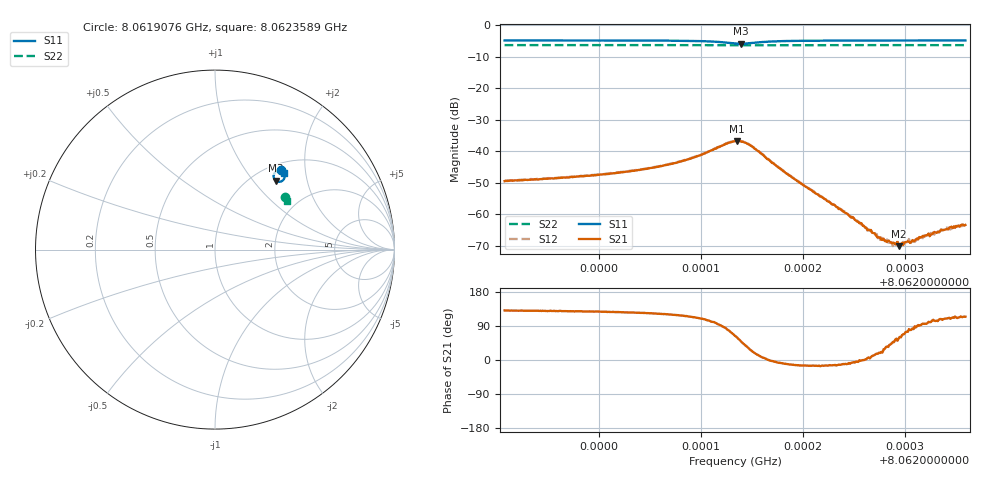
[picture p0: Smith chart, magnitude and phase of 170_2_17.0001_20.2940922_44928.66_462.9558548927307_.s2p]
#  HZ  S  RI  R  50.00
! Rohde & Schwarz Vector Network Analyzer
! Rohde-Schwarz,ZNB20-2Port,1311601062101988,3.16
! Created: UTC 3/20/2024, 10:59:43 PM
! freq[Hz]  re:S11  im:S11  re:S21  im:S21  re:S12  im:S12  re:S22  im:S22
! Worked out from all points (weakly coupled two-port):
!   401 points, 8.0619076 GHz to 8.0623589 GHz, reference 50 ohm
!   highest |S21| = -36.72 dB at 8.0621355 GHz (marker M1); lowest = -70.2 dB at 8.0622935 GHz (marker M2)
!   lowest |S11| = -5.8 dB at 8.0621389 GHz (marker M3), VSWR 3.10, Z = 62.8 + j65.5 ohm
!   |S11| at or under -10 dB: nowhere
!   |S22| runs from -6.3 to -6.3 dB; largest |S21 - S12| = 0.0011
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8.06190764e9  0.3703 0.4408  -0.00219 0.00253  -0.00205 0.00274  0.3875 0.2933
8.06198322e9  0.3764 0.435  -0.0025 0.00313  -0.00233 0.00332  0.3901 0.2896
8.06203061e9  0.3811 0.4295  -0.0028 0.0039  -0.00259 0.00416  0.3917 0.2871
8.06205881e9  0.3843 0.4243  -0.00302 0.00483  -0.00278 0.00506  0.3927 0.2854
8.06209153e9  0.388 0.4123  -0.0031 0.00719  -0.00269 0.00745  0.3937 0.2833
8.06211635e9  0.3824 0.3907  -0.00095 0.0116  -0.000279 0.0116  0.3939 0.2814
8.06213327e9  0.3517 0.3781  0.00637 0.0129  0.00728 0.0127  0.3929 0.2805
8.06213553e9  0.3457 0.3799  0.00753 0.0125  0.00835 0.0119  0.3928 0.2806
8.06213891e9  0.3373 0.385  0.00928 0.011  0.0101 0.0104  0.3925 0.2809
8.06214907e9  0.3265 0.4093  0.011 0.00523  0.0114 0.00454  0.3929 0.2816
8.06218291e9  0.3537 0.4392  0.00445 -0.000801  0.00447 -0.00109  0.3955 0.2809
8.06220886e9  0.3651 0.4387  0.00228 -0.000608  0.00224 -0.000764  0.3967 0.2795
8.0622506e9  0.3743 0.4351  0.000811 -9.6e-05  0.000806 -0.000143  0.3984 0.2772
8.06227429e9  0.3776 0.4334  0.000403 0.00014  0.000447 0.000128  0.3993 0.276
8.06228445e9  0.3788 0.4327  0.000289 0.000242  0.000296 0.000188  0.3997 0.2754
8.06228557e9  0.3789 0.4326  0.000275 0.00024  0.000313 0.000192  0.3997 0.2754
8.06229347e9  0.3798 0.432  0.00017 0.000259  0.000198 0.000264  0.4001 0.2751
8.06230475e9  0.3809 0.4312  6.55e-05 0.000343  7.39e-05 0.000347  0.4005 0.2744
8.06230701e9  0.381 0.431  4.6e-05 0.000384  6.16e-05 0.000387  0.4004 0.2744
8.06231604e9  0.3818 0.4303  -2.84e-05 0.000432  9.35e-06 0.000422  0.4007 0.2739
8.06234537e9  0.3843 0.4285  -0.000226 0.000589  -0.000195 0.000563  0.4017 0.2723
8.06235891e9  0.3856 0.4278  -0.000275 0.000615  -0.00025 0.00065  0.4021 0.2715
